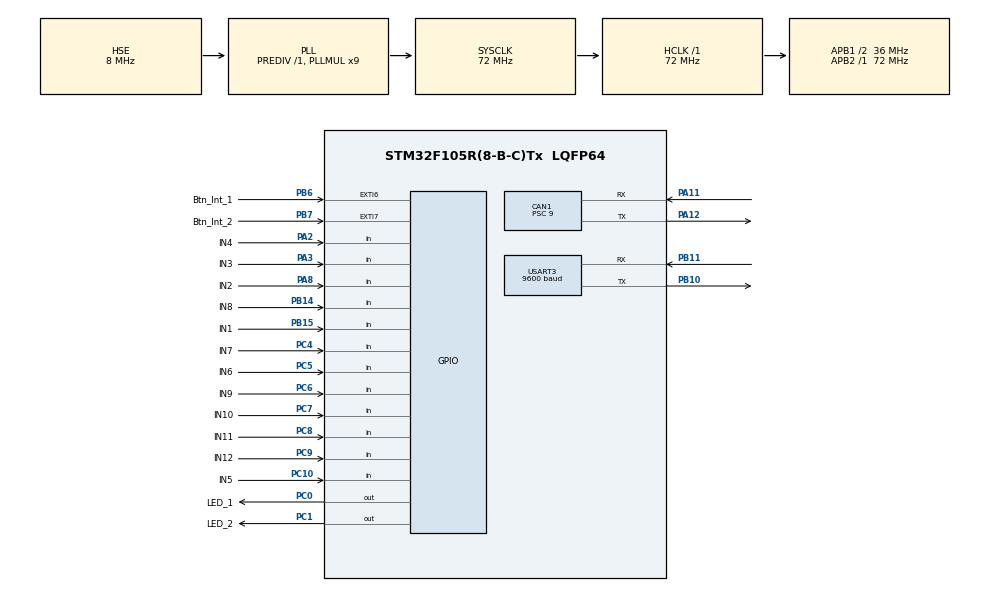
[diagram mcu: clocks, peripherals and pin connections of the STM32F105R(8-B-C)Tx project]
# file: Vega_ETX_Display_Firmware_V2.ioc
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CAN1.BS1=CAN_BS1_7TQ
CAN1.BS2=CAN_BS2_8TQ
CAN1.CalculateBaudRate=250000
CAN1.CalculateTimeBit=4000
CAN1.CalculateTimeQuantum=250.0
CAN1.Prescaler=9
Mcu.Family=STM32F1
Mcu.Name=STM32F105R(8-B-C)Tx
Mcu.Package=LQFP64
NVIC.CAN1_RX0_IRQn=true\:0\:0\:false\:false\:true\:true\:true\:true
NVIC.CAN1_RX1_IRQn=true\:0\:0\:false\:false\:true\:true\:true\:true
NVIC.CAN1_SCE_IRQn=true\:0\:0\:false\:false\:true\:true\:true\:true
NVIC.EXTI9_5_IRQn=true\:0\:0\:false\:false\:true\:true\:true\:true
NVIC.PriorityGroup=NVIC_PRIORITYGROUP_4
NVIC.TIM2_IRQn=true\:0\:0\:false\:false\:true\:true\:true\:true
NVIC.USART3_IRQn=true\:0\:0\:false\:false\:true\:true\:true\:true
PA11.Mode=CAN_Activate
PA11.Signal=CAN1_RX
PA12.Mode=CAN_Activate
PA12.Signal=CAN1_TX
PA13.Mode=Serial_Wire
PA13.Signal=SYS_JTMS-SWDIO
PA14.Mode=Serial_Wire
PA14.Signal=SYS_JTCK-SWCLK
PA2.GPIO_Label=IN4
PA2.Signal=GPIO_Input
PA3.GPIO_Label=IN3
PA3.Signal=GPIO_Input
PA8.GPIO_Label=IN2
PA8.Signal=GPIO_Input
PB10.Mode=Asynchronous
PB10.Signal=USART3_TX
PB11.Mode=Asynchronous
PB11.Signal=USART3_RX
PB14.GPIO_Label=IN8
PB14.Signal=GPIO_Input
PB15.GPIO_Label=IN1
PB15.Signal=GPIO_Input
PB6.GPIO_Label=Btn_Int_1
PB6.Signal=GPXTI6
PB7.GPIO_Label=Btn_Int_2
PB7.Signal=GPXTI7
PC0.GPIO_Label=LED_1
PC0.Signal=GPIO_Output
PC1.GPIO_Label=LED_2
PC1.Signal=GPIO_Output
PC10.GPIO_Label=IN5
PC10.Signal=GPIO_Input
PC14-OSC32_IN.Mode=LSE-External-Oscillator
PC14-OSC32_IN.Signal=RCC_OSC32_IN
PC15-OSC32_OUT.Mode=LSE-External-Oscillator
PC15-OSC32_OUT.Signal=RCC_OSC32_OUT
PC4.GPIO_Label=IN7
PC4.Signal=GPIO_Input
PC5.GPIO_Label=IN6
PC5.Signal=GPIO_Input
PC6.GPIO_Label=IN9
PC6.Signal=GPIO_Input
PC7.GPIO_Label=IN10
PC7.Signal=GPIO_Input
PC8.GPIO_Label=IN11
PC8.Signal=GPIO_Input
PC9.GPIO_Label=IN12
PC9.Signal=GPIO_Input
PD0-OSC_IN.Mode=HSE-External-Oscillator
PD0-OSC_IN.Signal=RCC_OSC_IN
PD1-OSC_OUT.Mode=HSE-External-Oscillator
PD1-OSC_OUT.Signal=RCC_OSC_OUT
ProjectManager.HeapSize=0x200
ProjectManager.StackSize=0x400
ProjectManager.TargetToolchain=STM32CubeIDE
RCC.AHBFreq_Value=72000000
RCC.APB1CLKDivider=RCC_HCLK_DIV2
RCC.APB1Freq_Value=36000000
RCC.APB1TimFreq_Value=72000000
RCC.APB2Freq_Value=72000000
RCC.APB2TimFreq_Value=72000000
RCC.HCLKFreq_Value=72000000
RCC.PLLMUL=RCC_PLL_MUL9
RCC.PLLSourceVirtual=RCC_PLLSOURCE_HSE
RCC.SYSCLKFreq_VALUE=72000000
RCC.SYSCLKSource=RCC_SYSCLKSOURCE_PLLCLK
RCC.USBFreq_Value=48000000
TIM2.Period=100
TIM2.Prescaler=36000
USART3.BaudRate=9600
USART3.Mode=MODE_TX_RX
USART3.VirtualMode=VM_ASYNC
VP_TIM2_VS_ClockSourceINT.Mode=Internal
board=custom

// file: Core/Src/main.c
/* USER CODE BEGIN Header */
/**
 ******************************************************************************
 * @file           : main.c
 * @brief          : Main program body
 ******************************************************************************
 * @attention
 *
 * Copyright (c) 2022 STMicroelectronics.
 * All rights reserved.
 *
 * This software is licensed under terms that can be found in the LICENSE file
 * in the root directory of this software component.
 * If no LICENSE file comes with this software, it is provided AS-IS.
 *
 ******************************************************************************
 */
/* USER CODE END Header */
#include "main.h"
#include "can.h"
#include "tim.h"
#include "usart.h"
#include "gpio.h"

/* USER CODE BEGIN Includes */
#include "state_machine.h"
#include "test_function.h"
#include "timer.h"
#include "PollingRoutine.h"
/* USER CODE END Includes */

void SystemClock_Config(void);
/* USER CODE BEGIN PFP */

//Set TX header before transmitting the data
//Set RX header after transmitting the data
CAN_TxHeaderTypeDef txHeader;
CAN_RxHeaderTypeDef rxHeader;

CAN_TxHeaderTypeDef TxHeader2;
CAN_RxHeaderTypeDef RxHeader2;
//
uint32_t canMailbox;
uint32_t TxMailbox2;
//buffer for transmit and receive
uint8_t canRX[8] = { 0, 0, 0, 0, 0, 0, 0, 0 };
uint8_t canTX[8] = { 0, 0, 0, 0, 0, 0, 0, 0 };
//uint8_t espData = {0, 0, 0, 0, 0, 0, 0, 0};

uint8_t TxData2[8] = { 1, 2, 3, 4, 5, 6, 7, 8 };
uint8_t RxData2[8] = { 0, 0, 0, 0, 0, 0, 0, 0 };

uint8_t counter = 0;
uint8_t counter2 = 0;
uint8_t counterTim = 0;
uint8_t can_Counter = 0;

uint8_t timCounter = 0;
uint8_t timCounter2;
bool  gpioSetFlag = false;

/* USER CODE END PFP */

int main(void)
{

  /* MCU Configuration--------------------------------------------------------*/

  /* Reset of all peripherals, Initializes the Flash interface and the Systick. */
  HAL_Init();

  /* USER CODE BEGIN Init */
  HAL_Delay(1000);
  /* USER CODE END Init */

  /* Configure the system clock */
  SystemClock_Config();

  /* Initialize all configured peripherals */
  MX_GPIO_Init();
  MX_CAN1_Init();
  MX_TIM2_Init();
  MX_USART3_UART_Init();
  /* USER CODE BEGIN 2 */
	txHeader.DLC = 8; //length of data
	txHeader.ExtId = 0; //Extended ID
	txHeader.IDE = CAN_ID_STD;
	txHeader.RTR = CAN_RTR_DATA;
	txHeader.StdId = 0x42;
	txHeader.TransmitGlobalTime = DISABLE;
	canTX[0] = 0xf3;

	TxHeader2.DLC = 8; //length of data
	TxHeader2.ExtId = 0; //Extended ID
	TxHeader2.IDE = CAN_ID_STD;
	TxHeader2.RTR = CAN_RTR_DATA;
	TxHeader2.StdId = 0x52;
	TxHeader2.TransmitGlobalTime = DISABLE;
	TxData2[0] = 0xf3;
	//HAL_CAN_AddTxMessage(&hcan2, &TxHeader, RxData, &TxMailbox);
	//HAL_CAN1_Config();
	//HAL_CAN2_Config();
	memset(strDATA, 0, 8);
	memset(strDATA2, 0, 10);
	//strData - Display data array
	strDATA[0] = 0x5A;
	strDATA[1] = 0xA5;
	strDATA[2] = 0x05;
	strDATA[3] = 0x82;

	strDATA2[0] = 0x5A;
	strDATA2[1] = 0xA5;
	strDATA2[2] = 0x07;
	strDATA2[3] = 0x82;

	HAL_CAN_Start(&hcan1);
	//HAL_CAN_Start(&hcan2);
	HAL_CAN_ActivateNotification(&hcan1, CAN_IT_RX_FIFO0_MSG_PENDING);
	//HAL_CAN_ActivateNotification(&hcan2, CAN_IT_RX_FIFO1_MSG_PENDING);
	_fireModeEnable = 1;

	HAL_TIM_Base_Start_IT(&htim2);

//	HAL_DMA_RegisterCallback(&hdma_usart3_tx, HAL_DMA_XFER_CPLT_CB_ID,
//			&DMATransferComplete);
  /* USER CODE END 2 */

  /* Infinite loop */
  /* USER CODE BEGIN WHILE */
	//canTest();
	while (1) {

//		if (_fireModeEnable == 1) {
//			if (!_firePage) {
//				fireModePage();
//				_firePage = true;
//			}
//			fireData();
//			//goto end;
//		}
		counter++;
		counter2++;
		HAL_Delay(10);

		if (gpioSetFlag) {
			getInputs();
			setInputs();
			gpioSetFlag = false;
			//mainStateMachine();
			counter = 0;

		}
		if (counter2>5) {
			//transmit();
			counter2=0;
		}
		if (timeout.timeout_0_5s == true) {
			if (counter2 >= 10) {
				//transmit();
				counter2 = 0;
			}
		}
    /* USER CODE END WHILE */

	}
}

void SystemClock_Config(void)
{
  RCC_OscInitTypeDef RCC_OscInitStruct = {0};
  RCC_ClkInitTypeDef RCC_ClkInitStruct = {0};

  /** Initializes the RCC Oscillators according to the specified parameters
  * in the RCC_OscInitTypeDef structure.
  */
  RCC_OscInitStruct.OscillatorType = RCC_OSCILLATORTYPE_HSE;
  RCC_OscInitStruct.HSEState = RCC_HSE_ON;
  RCC_OscInitStruct.HSEPredivValue = RCC_HSE_PREDIV_DIV1;
  RCC_OscInitStruct.HSIState = RCC_HSI_ON;
  RCC_OscInitStruct.Prediv1Source = RCC_PREDIV1_SOURCE_HSE;
  RCC_OscInitStruct.PLL.PLLState = RCC_PLL_ON;
  RCC_OscInitStruct.PLL.PLLSource = RCC_PLLSOURCE_HSE;
  RCC_OscInitStruct.PLL.PLLMUL = RCC_PLL_MUL9;
  RCC_OscInitStruct.PLL2.PLL2State = RCC_PLL_NONE;
  if (HAL_RCC_OscConfig(&RCC_OscInitStruct) != HAL_OK)
  {
    Error_Handler();
  }

  /** Initializes the CPU, AHB and APB buses clocks
  */
  RCC_ClkInitStruct.ClockType = RCC_CLOCKTYPE_HCLK|RCC_CLOCKTYPE_SYSCLK
                              |RCC_CLOCKTYPE_PCLK1|RCC_CLOCKTYPE_PCLK2;
  RCC_ClkInitStruct.SYSCLKSource = RCC_SYSCLKSOURCE_PLLCLK;
  RCC_ClkInitStruct.AHBCLKDivider = RCC_SYSCLK_DIV1;
  RCC_ClkInitStruct.APB1CLKDivider = RCC_HCLK_DIV2;
  RCC_ClkInitStruct.APB2CLKDivider = RCC_HCLK_DIV1;

  if (HAL_RCC_ClockConfig(&RCC_ClkInitStruct, FLASH_LATENCY_2) != HAL_OK)
  {
    Error_Handler();
  }

  /** Configure the Systick interrupt time
  */
  __HAL_RCC_PLLI2S_ENABLE();
}

/* USER CODE BEGIN 4 */
void HAL_CAN_RxFifo0MsgPendingCallback(CAN_HandleTypeDef *hcan1) {
	can_Counter++;
	HAL_GPIO_WritePin(GPIOC, LED_1_Pin, GPIO_PIN_SET);
	HAL_CAN_GetRxMessage(hcan1, CAN_RX_FIFO0, &rxHeader, canRX);
	if ((rxHeader.StdId == 0x40) && (rxHeader.IDE == CAN_ID_STD)) {
		EVCU_getData_read_40(canRX);
	}
	if ((rxHeader.StdId == 0x41) && (rxHeader.IDE == CAN_ID_STD)) {
		EVCU_getData_read_41(canRX);
	}
	if ((rxHeader.StdId == 0x43) && (rxHeader.IDE == CAN_ID_STD)) {
		EVCU_getData_read_43(canRX);
	}
}

void HAL_CAN_RxFifo1MsgPendingCallback(CAN_HandleTypeDef *hcan2) {
	counter2++;
	HAL_GPIO_WritePin(GPIOC, LED_2_Pin, GPIO_PIN_SET);
	HAL_CAN_GetRxMessage(hcan2, CAN_RX_FIFO1, &RxHeader2, RxData2);
}

void HAL_GPIO_EXTI_Callback(uint16_t GPIO_Pin) {
	if (Btn_Int_1_Pin) {
		buttonEn1 = true;
	}
	if (Btn_Int_2_Pin) {
		buttonEn2 = true;
	}
}

void HAL_TIM_PeriodElapsedCallback(TIM_HandleTypeDef *htim) {
	//Timer ---> 50ms
	tick_count(&timeout);
	gpioSetFlag = true;//50ms
	mainStateMachine();

	//Timer Indicator
	HAL_GPIO_TogglePin(GPIOC, LED_1_Pin);
	timCounter++;

//	if (_fireModeEnable == 1) {
//		if (!_firePage) {
//			fireModePage();
//			_firePage = true;
//		}
//		fireData();
//		//goto end;
//	}
	transmit();
	PollingRoutine();
	//gpioSetFlag = true;

	if (timeout.timeout_1s == true) {
		//CAN Transmit Starts After 1s
		EVCU_setData_write(canTX); //errorRead will send using this
		//tick_clear(&timeout);
	}
}

void HAL_UART_TxCpltCallback(UART_HandleTypeDef *huart) {
	if (huart->Instance == huart3.Instance) {
		PollingRoutine();
	}

}

void HAL_UART_TxHalfCpltCallback(UART_HandleTypeDef *huart) {

}
/* USER CODE END 4 */

void Error_Handler(void)
{
	__disable_irq();
	while (1) {
	}
}
